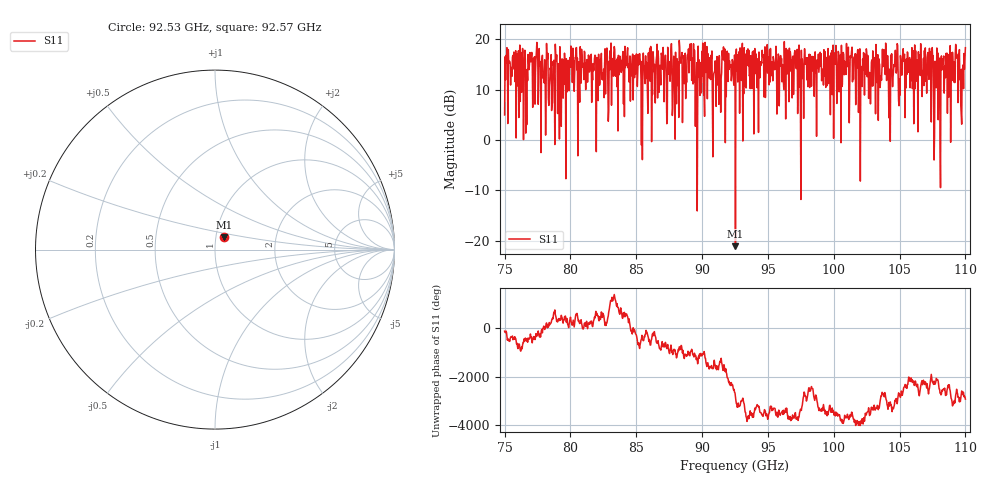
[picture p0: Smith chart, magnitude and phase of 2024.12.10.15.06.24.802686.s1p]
! Created with skrf (http://scikit-rf.org).
# GHz S RI R 50.0
!freq ReS11 ImS11
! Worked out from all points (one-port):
!   1001 points, 75 GHz to 110 GHz, reference 50 ohm
!   lowest |S11| = -21.1 dB at 92.53 GHz (marker M1), VSWR 1.19, Z = 55 + j7.88 ohm
!   |S11| at or under -10 dB: 89.62515 GHz to 89.63679 GHz (11.64 MHz wide, 0.013 % of centre); 92.52361 GHz to 92.54517 GHz (21.55 MHz wide, 0.0233 % of centre); 97.50161 GHz to 97.50713 GHz (5.52 MHz wide, 0.00566 % of centre)
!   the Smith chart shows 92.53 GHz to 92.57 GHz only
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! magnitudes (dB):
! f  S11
! 75 GHz  5.0
! 75.21 GHz  17.9
! 79.38 GHz  9.9
! 83.75 GHz  16.7
! 88.12 GHz  13.3
! 89.03 GHz  17.5
! 89.67 GHz  6.9
! 89.88 GHz  15.4
! 90.4 GHz  8.2
! 92.5 GHz  13.0
! 92.53 GHz  -21.1
! 93.38 GHz  16.8
! 94.11 GHz  17.1
! 96.88 GHz  16.5
! 97.58 GHz  12.2
! 97.96 GHz  12.0
! 101.2 GHz  16.7
! 102.1 GHz  14.7
! 102.4 GHz  13.4
! 105.6 GHz  17.3
! 107.2 GHz  13.1
! 107.8 GHz  10.4
! 107.9 GHz  10.7
! 107.9 GHz  4.0
! 108.3 GHz  15.4
! 109.4 GHz  16.8
! 109.8 GHz  14.1
! 110 GHz  18.3
